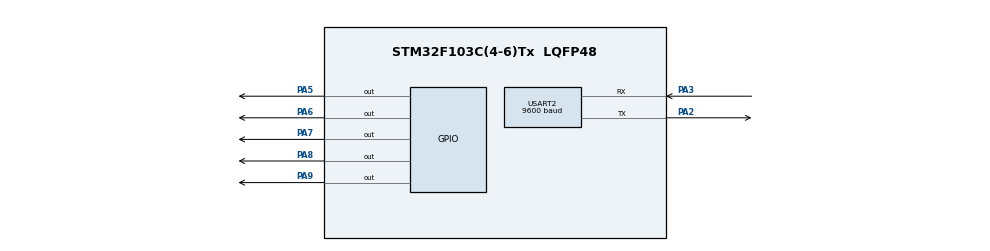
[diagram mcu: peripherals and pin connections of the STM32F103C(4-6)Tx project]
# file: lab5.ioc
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Mcu.Family=STM32F1
Mcu.Name=STM32F103C(4-6)Tx
Mcu.Package=LQFP48
NVIC.PriorityGroup=NVIC_PRIORITYGROUP_4
NVIC.TIM2_IRQn=true\:0\:0\:false\:false\:true\:true\:true
NVIC.USART2_IRQn=true\:0\:0\:false\:false\:true\:true\:true
PA2.Mode=Asynchronous
PA2.Signal=USART2_TX
PA3.Mode=Asynchronous
PA3.Signal=USART2_RX
PA5.Signal=GPIO_Output
PA6.Signal=GPIO_Output
PA7.Signal=GPIO_Output
PA8.Signal=GPIO_Output
PA9.Signal=GPIO_Output
PC14-OSC32_IN.Mode=LSE-External-Oscillator
PC14-OSC32_IN.Signal=RCC_OSC32_IN
PC15-OSC32_OUT.Mode=LSE-External-Oscillator
PC15-OSC32_OUT.Signal=RCC_OSC32_OUT
ProjectManager.HeapSize=0x200
ProjectManager.StackSize=0x400
ProjectManager.TargetToolchain=STM32CubeIDE
RCC.APB1Freq_Value=8000000
RCC.APB2Freq_Value=8000000
TIM2.Period=9
TIM2.Prescaler=7999
USART2.BaudRate=9600
USART2.VirtualMode=VM_ASYNC
VP_SYS_VS_ND.Mode=No_Debug
VP_TIM2_VS_ClockSourceINT.Mode=Internal
board=custom

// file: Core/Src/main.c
/* USER CODE BEGIN Header */
/**
  ******************************************************************************
  * @file           : main.c
  * @brief          : Main program body
  ******************************************************************************
  * @attention
  *
  * <h2><center>&copy; Copyright (c) 2021 STMicroelectronics.
  * All rights reserved.</center></h2>
  *
  * This software component is licensed by ST under BSD 3-Clause license,
  * the "License"; You may not use this file except in compliance with the
  * License. You may obtain a copy of the License at:
  *                        opensource.org/licenses/BSD-3-Clause
  *
  ******************************************************************************
  */
/* USER CODE END Header */
#include "main.h"

/* USER CODE BEGIN Includes */
#include <stdio.h>
#include "global.h"
#include "task.h"
#include "scheduler.h"
/* USER CODE END Includes */

TIM_HandleTypeDef htim2;

UART_HandleTypeDef huart2;

void SystemClock_Config(void);
static void MX_GPIO_Init(void);
static void MX_TIM2_Init(void);
static void MX_USART2_UART_Init(void);

int main(void)
{

  /* MCU Configuration--------------------------------------------------------*/

  /* Reset of all peripherals, Initializes the Flash interface and the Systick. */
  HAL_Init();

  /* Configure the system clock */
  SystemClock_Config();

  /* Initialize all configured peripherals */
  MX_GPIO_Init();
  MX_TIM2_Init();
  MX_USART2_UART_Init();
  /* USER CODE BEGIN 2 */
  HAL_TIM_Base_Start_IT(&htim2);
  HAL_GPIO_WritePin(GPIOA, GPIO_PIN_5|GPIO_PIN_6|GPIO_PIN_7
		  	  	  	  	   |GPIO_PIN_8|GPIO_PIN_9, GPIO_PIN_SET);
  /* USER CODE END 2 */

  /* Infinite loop */
  /* USER CODE BEGIN WHILE */
  SCH_Add_Task(0, task_display1, 0, 200);
  SCH_Add_Task(1, task_display2, 2, 100);
  SCH_Add_Task(2, task_display3, 3, 50);
  SCH_Add_Task(3, task_display4, 5, 150);
  SCH_Add_Task(4, task_display5, 7, 250);
  //SCH_Add_Task(2, task_display2, 400, 500);

  while (1)
  {
    /* USER CODE END WHILE */

    /* USER CODE BEGIN 3 */
	SCH_Dispatch();

  }
  /* USER CODE END 3 */
}

void SystemClock_Config(void)
{
  RCC_OscInitTypeDef RCC_OscInitStruct = {0};
  RCC_ClkInitTypeDef RCC_ClkInitStruct = {0};

  /** Initializes the RCC Oscillators according to the specified parameters
  * in the RCC_OscInitTypeDef structure.
  */
  RCC_OscInitStruct.OscillatorType = RCC_OSCILLATORTYPE_HSI;
  RCC_OscInitStruct.HSIState = RCC_HSI_ON;
  RCC_OscInitStruct.HSICalibrationValue = RCC_HSICALIBRATION_DEFAULT;
  RCC_OscInitStruct.PLL.PLLState = RCC_PLL_NONE;
  if (HAL_RCC_OscConfig(&RCC_OscInitStruct) != HAL_OK)
  {
    Error_Handler();
  }
  /** Initializes the CPU, AHB and APB buses clocks
  */
  RCC_ClkInitStruct.ClockType = RCC_CLOCKTYPE_HCLK|RCC_CLOCKTYPE_SYSCLK
                              |RCC_CLOCKTYPE_PCLK1|RCC_CLOCKTYPE_PCLK2;
  RCC_ClkInitStruct.SYSCLKSource = RCC_SYSCLKSOURCE_HSI;
  RCC_ClkInitStruct.AHBCLKDivider = RCC_SYSCLK_DIV1;
  RCC_ClkInitStruct.APB1CLKDivider = RCC_HCLK_DIV1;
  RCC_ClkInitStruct.APB2CLKDivider = RCC_HCLK_DIV1;

  if (HAL_RCC_ClockConfig(&RCC_ClkInitStruct, FLASH_LATENCY_0) != HAL_OK)
  {
    Error_Handler();
  }
}

static void MX_TIM2_Init(void)
{

  TIM_ClockConfigTypeDef sClockSourceConfig = {0};
  TIM_MasterConfigTypeDef sMasterConfig = {0};

  htim2.Instance = TIM2;
  htim2.Init.Prescaler = 7999;
  htim2.Init.CounterMode = TIM_COUNTERMODE_UP;
  htim2.Init.Period = 9;
  htim2.Init.ClockDivision = TIM_CLOCKDIVISION_DIV1;
  htim2.Init.AutoReloadPreload = TIM_AUTORELOAD_PRELOAD_DISABLE;
  if (HAL_TIM_Base_Init(&htim2) != HAL_OK)
  {
    Error_Handler();
  }
  sClockSourceConfig.ClockSource = TIM_CLOCKSOURCE_INTERNAL;
  if (HAL_TIM_ConfigClockSource(&htim2, &sClockSourceConfig) != HAL_OK)
  {
    Error_Handler();
  }
  sMasterConfig.MasterOutputTrigger = TIM_TRGO_RESET;
  sMasterConfig.MasterSlaveMode = TIM_MASTERSLAVEMODE_DISABLE;
  if (HAL_TIMEx_MasterConfigSynchronization(&htim2, &sMasterConfig) != HAL_OK)
  {
    Error_Handler();
  }

}

static void MX_USART2_UART_Init(void)
{

  huart2.Instance = USART2;
  huart2.Init.BaudRate = 9600;
  huart2.Init.WordLength = UART_WORDLENGTH_8B;
  huart2.Init.StopBits = UART_STOPBITS_1;
  huart2.Init.Parity = UART_PARITY_NONE;
  huart2.Init.Mode = UART_MODE_TX_RX;
  huart2.Init.HwFlowCtl = UART_HWCONTROL_NONE;
  huart2.Init.OverSampling = UART_OVERSAMPLING_16;
  if (HAL_UART_Init(&huart2) != HAL_OK)
  {
    Error_Handler();
  }

}

static void MX_GPIO_Init(void)
{
  GPIO_InitTypeDef GPIO_InitStruct = {0};

  /* GPIO Ports Clock Enable */
  __HAL_RCC_GPIOC_CLK_ENABLE();
  __HAL_RCC_GPIOA_CLK_ENABLE();

  /*Configure GPIO pin Output Level */
  HAL_GPIO_WritePin(GPIOA, GPIO_PIN_5|GPIO_PIN_6|GPIO_PIN_7|GPIO_PIN_8
                          |GPIO_PIN_9, GPIO_PIN_RESET);

  /*Configure GPIO pins : PA5 PA6 PA7 PA8
                           PA9 */
  GPIO_InitStruct.Pin = GPIO_PIN_5|GPIO_PIN_6|GPIO_PIN_7|GPIO_PIN_8
                          |GPIO_PIN_9;
  GPIO_InitStruct.Mode = GPIO_MODE_OUTPUT_PP;
  GPIO_InitStruct.Pull = GPIO_NOPULL;
  GPIO_InitStruct.Speed = GPIO_SPEED_FREQ_LOW;
  HAL_GPIO_Init(GPIOA, &GPIO_InitStruct);

}

/* USER CODE BEGIN 4 */
void HAL_TIM_PeriodElapsedCallback (TIM_HandleTypeDef * htim) {
	SCH_Update();
}
/* USER CODE END 4 */

void Error_Handler(void)
{
  __disable_irq();
  while (1)
  {
  }
}

/************************ (C) COPYRIGHT STMicroelectronics *****END OF FILE****/
